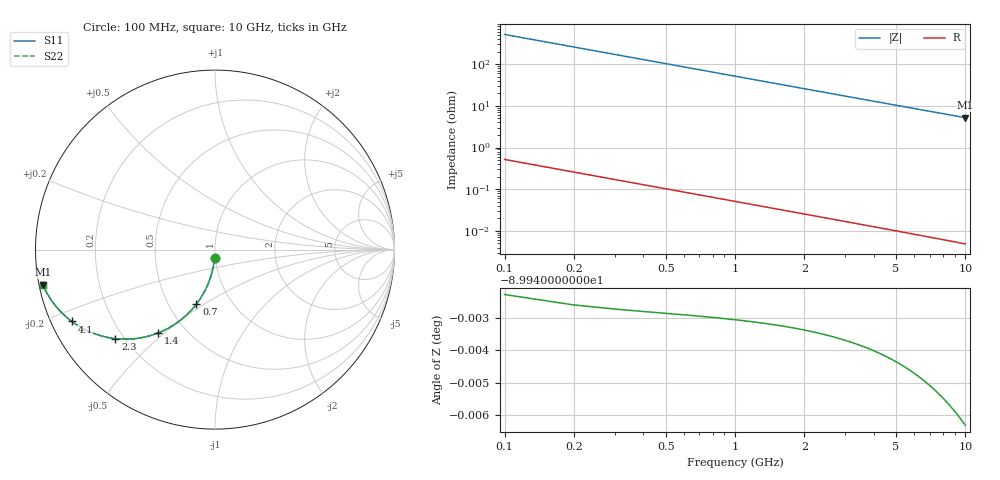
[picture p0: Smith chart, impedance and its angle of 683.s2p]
# Hz S RI R 50.00
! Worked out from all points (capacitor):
!   100 points, 100 MHz to 10 GHz, reference 50 ohm
!   read as one part in shunt: C = 3.1 pF near 100 MHz
!   lowest |Z| = 5.21 ohm at 10 GHz (marker M1)
!   S11 on the Smith chart (normalised r, x): 100 MHz: 0.99, -0.10; 700 MHz: 0.68, -0.46; 1.4 GHz: 0.35, -0.48; 2.3 GHz: 0.17, -0.37; 4.1 GHz: 0.06, -0.24; 10 GHz: 0.01, -0.10
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1e8  -0.00239 -0.0485  0.9976 -0.0485  0.9976 -0.0485  -0.00239 -0.0485
2e8  -0.00945 -0.0963  0.9905 -0.0964  0.9905 -0.0964  -0.00945 -0.0963
3e8  -0.021 -0.1427  0.979 -0.1429  0.979 -0.1429  -0.021 -0.1427
4e8  -0.0366 -0.1873  0.9634 -0.1874  0.9634 -0.1874  -0.0366 -0.1873
5e8  -0.056 -0.2294  0.944 -0.2295  0.944 -0.2295  -0.056 -0.2294
6e8  -0.0787 -0.2686  0.9213 -0.2688  0.9213 -0.2688  -0.0787 -0.2686
7e8  -0.104 -0.3047  0.8959 -0.305  0.8959 -0.305  -0.104 -0.3047
8e8  -0.1317 -0.3375  0.8683 -0.3378  0.8683 -0.3378  -0.1317 -0.3375
1e9  -0.1914 -0.3927  0.8086 -0.3931  0.8086 -0.3931  -0.1914 -0.3927
1.2e9  -0.2541 -0.4346  0.7459 -0.4351  0.7459 -0.4351  -0.2541 -0.4346
1.4e9  -0.3167 -0.4644  0.6833 -0.465  0.6833 -0.465  -0.3167 -0.4644
1.6e9  -0.377 -0.4838  0.623 -0.4844  0.623 -0.4844  -0.377 -0.4838
1.8e9  -0.4336 -0.4947  0.5664 -0.4954  0.5664 -0.4954  -0.4336 -0.4947
2.3e9  -0.5553 -0.496  0.4447 -0.4969  0.4447 -0.4969  -0.5553 -0.496
2.8e9  -0.649 -0.4762  0.351 -0.4773  0.351 -0.4773  -0.649 -0.4762
3.4e9  -0.7314 -0.442  0.2685 -0.4434  0.2685 -0.4434  -0.7314 -0.442
4.1e9  -0.7982 -0.4  0.2017 -0.4016  0.2017 -0.4016  -0.7982 -0.4
5.1e9  -0.8594 -0.3461  0.1406 -0.3481  0.1406 -0.3481  -0.8594 -0.3461
5.8e9  -0.8876 -0.3142  0.1124 -0.3165  0.1124 -0.3165  -0.8876 -0.3142
6.7e9  -0.9132 -0.2796  0.0867 -0.2823  0.0867 -0.2823  -0.9132 -0.2796
8.4e9  -0.9429 -0.2298  0.0571 -0.2331  0.0571 -0.2331  -0.9429 -0.2298
1e10  -0.959 -0.1958  0.041 -0.1998  0.041 -0.1998  -0.959 -0.1958
